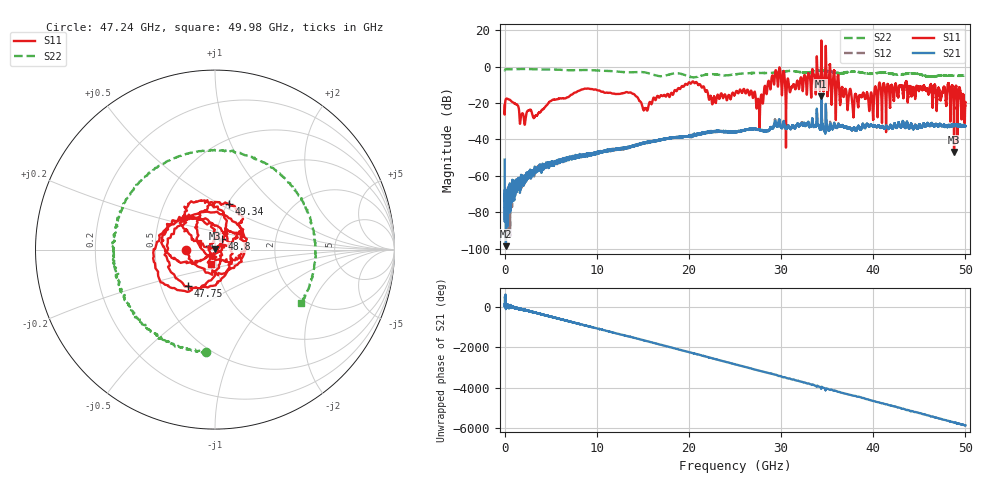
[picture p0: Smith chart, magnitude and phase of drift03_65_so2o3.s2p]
!Created with skrf (http://scikit-rf.org).
# Hz S RI R 50.0
!freq ReS11 ImS11 ReS21 ImS21 ReS12 ImS12 ReS22 ImS22
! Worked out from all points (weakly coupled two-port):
!   10001 points, 300 kHz to 50 GHz, reference 50 ohm
!   highest |S21| = -16.26 dB at 34.37 GHz (marker M1); lowest = -98.6 dB at 140.3 MHz (marker M2)
!   lowest |S11| = -46.8 dB at 48.77 GHz (marker M3), VSWR 1.01, Z = 50 + j0.454 ohm
!   |S11| at or under -10 dB: start of sweep to 19.55 GHz; 21.25 GHz to 28.55 GHz (7.299 GHz wide, 29.3 % of centre); 36.28 GHz to 40.61 GHz (4.331 GHz wide, 11.3 % of centre) (the widest 3 of 36)
!   |S22| runs from -5.9 to -1.3 dB; largest |S21 - S12| = 0.03
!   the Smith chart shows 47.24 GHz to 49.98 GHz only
!   S11 on the Smith chart (normalised r, x): 47.24 GHz: 0.72, -0.01; 47.75 GHz: 0.68, -0.30; 48.8 GHz: 1.07, +0.12; 49.34 GHz: 1.01, +0.55; 49.98 GHz: 0.94, -0.15
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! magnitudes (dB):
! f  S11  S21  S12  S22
! 300 kHz  -21.3  -51.1  -67.9  -2.0
! 140.3 MHz  -17.8  -98.6  -78.3  -1.5
! 3.3 GHz  -27.3  -57.8  -57.3  -1.5
! 8.335 GHz  -12.6  -49.2  -49.2  -1.9
! 15.28 GHz  -22.8  -41.7  -41.5  -3.3
! 16.67 GHz  -16.5  -40.6  -40.7  -5.2
! 20.26 GHz  -9.1  -37.8  -38.3  -5.8
! 25 GHz  -15.2  -35.8  -35.7  -4.3
! 27.52 GHz  -17.8  -34.4  -34.5  -3.5
! 29.28 GHz  -8.6  -31.2  -30.7  -3.3
! 30.73 GHz  -6.6  -32.8  -32.5  -2.4
! 33.34 GHz  -7.5  -31.0  -31.3  -2.9
! 34.37 GHz  14.3  -16.3  -17.4  -2.2
! 37.86 GHz  -27.7  -33.7  -34.0  -2.8
! 41.67 GHz  -11.4  -34.3  -34.3  -3.7
! 47.24 GHz  -15.8  -31.2  -32.0  -4.8
! 47.75 GHz  -11.9  -32.9  -32.2  -4.8
! 48.77 GHz  -46.8  -32.2  -32.5  -5.1
! 48.8 GHz  -23.3  -32.4  -32.3  -5.1
! 49.34 GHz  -11.6  -32.7  -32.2  -5.1
! 49.98 GHz  -21.8  -32.5  -32.5  -5.0
! 50 GHz  -19.5  -32.8  -32.7  -5.0
